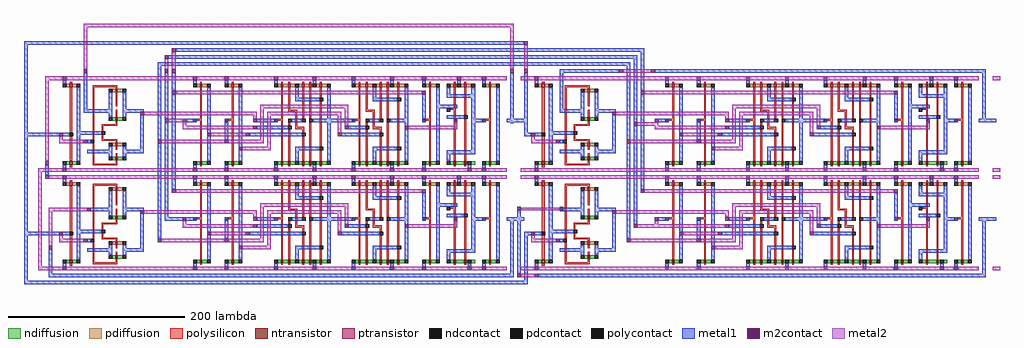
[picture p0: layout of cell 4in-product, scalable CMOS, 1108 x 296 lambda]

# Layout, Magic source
magic
tech scmos
<< metal1 >>
rect -708 144 -140 148
rect -708 44 -704 144
rect -536 136 -4 140
rect -544 128 -12 132
rect -556 120 -20 124
rect -640 67 -636 112
rect -708 40 -664 44
rect -708 -68 -704 40
rect -556 36 -552 120
rect -684 -4 -680 8
rect -708 -72 -664 -68
rect -708 -124 -704 -72
rect -556 -76 -552 32
rect -548 60 -544 112
rect -548 -52 -544 56
rect -540 92 -536 112
rect -540 -20 -536 88
rect -156 55 -152 112
rect -140 44 -136 112
rect -100 112 -32 116
rect -100 70 -96 112
rect -140 40 -132 44
rect -24 36 -20 120
rect -548 -56 -523 -52
rect -680 -116 -676 -88
rect -156 -116 -152 -52
rect -680 -120 -152 -116
rect -148 -116 -144 -44
rect -140 -72 -128 -68
rect -140 -124 -136 -72
rect -24 -76 -20 32
rect -16 56 -12 128
rect -16 -60 -12 52
rect -8 92 -4 136
rect 8 112 384 116
rect -8 -20 -4 88
rect 380 56 384 112
rect 380 -116 384 -52
rect -124 -120 384 -116
rect -708 -128 -136 -124
<< metal2 >>
rect -640 164 -152 168
rect -640 116 -636 164
rect -548 116 -544 128
rect -540 116 -536 136
rect -156 116 -152 164
rect -140 116 -136 144
rect -28 112 4 116
rect -684 104 -668 108
rect -568 104 -544 108
rect -44 104 245 108
rect -684 12 -680 104
rect -536 88 -524 92
rect -4 88 20 92
rect -572 64 -523 68
rect -36 64 12 68
rect -544 56 -524 60
rect -12 52 12 56
rect -552 32 -524 36
rect -20 32 12 36
rect -692 0 -668 4
rect -565 0 -541 4
rect -39 0 250 4
rect -692 -108 -688 0
rect -680 -8 -668 -4
rect -565 -8 -541 -4
rect -40 -8 249 -4
rect -536 -24 -525 -20
rect -4 -24 12 -20
rect -680 -45 -636 -41
rect -144 -44 -100 -41
rect -680 -84 -676 -45
rect -572 -48 -523 -44
rect -36 -48 12 -44
rect -12 -64 12 -60
rect -552 -80 -524 -76
rect -20 -80 12 -76
rect -692 -112 -668 -108
rect -568 -112 -540 -108
rect -37 -112 252 -108
rect -144 -120 -128 -116
<< m2contact >>
rect -140 144 -136 148
rect -540 136 -536 140
rect -548 128 -544 132
rect -640 112 -636 116
rect -576 64 -572 68
rect -556 32 -552 36
rect -684 8 -680 12
rect -684 -8 -680 -4
rect -636 -45 -632 -41
rect -576 -48 -572 -44
rect -548 112 -544 116
rect -548 56 -544 60
rect -540 112 -536 116
rect -540 88 -536 92
rect -156 112 -152 116
rect -140 112 -136 116
rect -32 112 -28 116
rect -40 64 -36 68
rect -540 -24 -536 -20
rect -24 32 -20 36
rect -148 -44 -144 -40
rect -100 -44 -96 -40
rect -556 -80 -552 -76
rect -680 -88 -676 -84
rect -40 -48 -36 -44
rect -148 -120 -144 -116
rect -16 52 -12 56
rect 4 112 8 116
rect -8 88 -4 92
rect -8 -24 -4 -20
rect -16 -64 -12 -60
rect -24 -80 -20 -76
rect -128 -120 -124 -116
use 2inMUX  2inMUX_0
transform 1 0 -104 0 1 0
box -32 0 76 108
use 2inMUX  2inMUX_1
transform 1 0 -640 0 1 0
box -32 0 76 108
use 2inMUX  2inMUX_2
transform 1 0 -104 0 1 -112
box -32 0 76 108
use 2inMUX  2inMUX_3
transform 1 0 -640 0 1 -112
box -32 0 76 108
use dflipflopER  dflipflopER_0
transform 1 0 -164 0 1 0
box 156 0 564 108
use dflipflopER  dflipflopER_1
transform 1 0 -700 0 1 0
box 156 0 564 108
use dflipflopER  dflipflopER_2
transform 1 0 -164 0 1 -112
box 156 0 564 108
use dflipflopER  dflipflopER_3
transform 1 0 -700 0 1 -112
box 156 0 564 108
<< end >>

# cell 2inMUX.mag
magic
tech scmos
<< polysilicon >>
rect 10 96 38 98
rect 10 36 12 96
rect 36 94 38 96
rect 36 74 38 90
rect 36 62 38 70
rect 36 54 38 58
rect 20 52 38 54
rect 20 46 22 52
rect 20 37 22 42
rect 20 35 38 37
rect 36 33 38 35
rect 10 9 12 32
rect 36 25 38 29
rect 36 17 38 21
rect 36 9 38 13
rect 10 7 38 9
<< ndiffusion >>
rect 32 58 36 62
rect 38 58 44 62
rect 32 13 36 17
rect 38 13 44 17
<< pdiffusion >>
rect 32 90 36 94
rect 38 90 44 94
rect 32 29 36 33
rect 38 29 44 33
<< metal1 >>
rect 28 71 32 90
rect 4 67 32 71
rect 28 62 32 67
rect 44 71 48 90
rect 44 67 68 71
rect 44 62 48 67
rect -24 40 -16 44
rect -7 42 20 46
rect 4 32 8 36
rect 28 25 32 29
rect 4 21 32 25
rect 28 17 32 21
rect 44 25 48 29
rect 64 25 68 67
rect 44 21 68 25
rect 44 17 48 21
<< metal2 >>
rect -32 104 -28 108
rect 0 104 76 108
rect -28 36 -24 40
rect -28 32 0 36
rect -32 0 -28 4
rect 0 0 76 4
<< ntransistor >>
rect 36 58 38 62
rect 36 13 38 17
<< ptransistor >>
rect 36 90 38 94
rect 36 29 38 33
<< polycontact >>
rect -16 40 -12 44
rect 8 32 12 36
rect 20 42 24 46
<< ndcontact >>
rect 28 58 32 62
rect 44 58 48 62
rect 28 13 32 17
rect 44 13 48 17
<< pdcontact >>
rect 28 90 32 94
rect 44 90 48 94
rect 28 29 32 33
rect 44 29 48 33
<< m2contact >>
rect -28 40 -24 44
rect 0 32 4 36
use inv  inv_0
transform 1 0 -28 0 1 0
box 0 0 28 108
<< end >>

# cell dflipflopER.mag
magic
tech scmos
<< metal1 >>
rect 176 56 188 60
rect 220 36 224 60
rect 256 56 280 60
rect 336 56 368 60
rect 444 56 448 88
rect 460 72 484 76
rect 256 48 276 52
rect 360 48 364 52
rect 248 40 292 44
rect 352 40 364 44
<< metal2 >>
rect 156 104 180 108
rect 234 104 268 108
rect 348 104 356 108
rect 556 104 564 108
rect 172 88 444 92
rect 260 72 360 76
rect 172 64 256 68
rect 252 60 256 64
rect 172 52 176 56
rect 172 48 252 52
rect 204 40 244 44
rect 260 36 264 72
rect 172 32 220 36
rect 224 32 264 36
rect 268 64 352 68
rect 268 28 272 64
rect 348 44 352 64
rect 356 52 360 72
rect 480 52 484 56
rect 428 48 484 52
rect 240 24 272 28
rect 156 0 180 4
rect 239 0 271 4
rect 348 0 356 4
rect 556 0 564 4
<< m2contact >>
rect 444 88 448 92
rect 172 56 176 60
rect 200 40 204 44
rect 252 56 256 60
rect 480 56 484 60
rect 252 48 256 52
rect 356 48 360 52
rect 424 48 428 52
rect 244 40 248 44
rect 348 40 352 44
rect 220 32 224 36
rect 236 24 240 28
use 2inAND  2inAND_3
transform 1 0 472 0 1 0
box 0 0 84 108
use inverter  inverter_0
transform 1 0 436 0 1 0
box 0 0 36 108
use inverter  inverter_1
transform 1 0 212 0 1 0
box 0 0 36 108
use inverter  inverter_2
transform 1 0 176 0 1 0
box 0 0 36 108
use latch  latch_0
transform 1 0 268 0 1 0
box 0 0 80 108
use latch  latch_1
transform 1 0 356 0 1 0
box 0 0 80 108
<< end >>

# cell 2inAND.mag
magic
tech scmos
<< polysilicon >>
rect 8 100 10 102
rect 20 100 22 102
rect 8 72 10 96
rect 4 70 10 72
rect 8 12 10 70
rect 20 64 22 96
rect 20 12 22 60
rect 8 6 10 8
rect 20 6 22 8
<< ndiffusion >>
rect 4 8 8 12
rect 10 8 20 12
rect 22 8 24 12
rect 28 8 32 12
<< pdiffusion >>
rect 4 96 8 100
rect 10 96 12 100
rect 16 96 20 100
rect 22 96 28 100
<< metal1 >>
rect 12 100 16 104
rect 0 88 4 96
rect 28 88 32 96
rect 0 84 32 88
rect 0 60 20 64
rect 28 60 32 84
rect 28 56 44 60
rect 68 56 88 60
rect 28 24 32 56
rect 0 20 32 24
rect 0 12 4 20
rect 24 4 28 8
<< metal2 >>
rect 0 104 12 108
rect 16 104 32 108
rect 0 0 24 4
rect 28 0 32 4
<< ntransistor >>
rect 8 8 10 12
rect 20 8 22 12
<< ptransistor >>
rect 8 96 10 100
rect 20 96 22 100
<< polycontact >>
rect 0 68 4 72
rect 20 60 24 64
<< ndcontact >>
rect 0 8 4 12
rect 24 8 28 12
<< pdcontact >>
rect 0 96 4 100
rect 12 96 16 100
rect 28 96 32 100
<< m2contact >>
rect 12 104 16 108
rect 24 0 28 4
use inverter  inverter_0
transform 1 0 32 0 1 0
box 0 0 52 108
<< end >>

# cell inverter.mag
magic
tech scmos
<< polysilicon >>
rect 16 100 18 102
rect 16 60 18 96
rect 12 58 18 60
rect 16 12 18 58
rect 16 6 18 8
<< ndiffusion >>
rect 12 8 16 12
rect 18 8 24 12
<< pdiffusion >>
rect 12 96 16 100
rect 18 96 24 100
<< metal1 >>
rect 8 100 12 104
rect 24 12 28 96
rect 8 4 12 8
<< metal2 >>
rect 0 104 8 108
rect 12 104 36 108
rect 0 0 8 4
rect 12 0 36 4
<< ntransistor >>
rect 16 8 18 12
<< ptransistor >>
rect 16 96 18 100
<< polycontact >>
rect 8 56 12 60
<< ndcontact >>
rect 8 8 12 12
rect 24 8 28 12
<< pdcontact >>
rect 8 96 12 100
rect 24 96 28 100
<< m2contact >>
rect 8 104 12 108
rect 8 0 12 4
<< end >>

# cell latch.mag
magic
tech scmos
<< polysilicon >>
rect 16 100 18 102
rect 24 100 26 102
rect 40 100 42 102
rect 48 100 50 102
rect 60 100 62 102
rect 16 60 18 96
rect 24 70 26 96
rect 24 68 34 70
rect 12 58 18 60
rect 16 12 18 58
rect 24 52 26 56
rect 32 51 34 68
rect 40 60 42 96
rect 48 60 50 96
rect 60 84 62 96
rect 32 48 42 51
rect 24 12 26 48
rect 40 44 42 48
rect 40 12 42 40
rect 48 12 50 56
rect 60 28 62 80
rect 60 12 62 24
rect 16 6 18 8
rect 24 6 26 8
rect 40 6 42 8
rect 48 6 50 8
rect 60 6 62 8
<< ndiffusion >>
rect 12 8 16 12
rect 18 8 24 12
rect 26 8 32 12
rect 36 8 40 12
rect 42 8 48 12
rect 50 8 52 12
rect 56 8 60 12
rect 62 8 68 12
<< pdiffusion >>
rect 12 96 16 100
rect 18 96 24 100
rect 26 96 32 100
rect 36 96 40 100
rect 42 96 48 100
rect 50 96 52 100
rect 56 96 60 100
rect 62 96 68 100
<< metal1 >>
rect 8 100 12 104
rect 52 100 56 104
rect 32 84 36 96
rect 32 80 60 84
rect 68 60 72 96
rect 28 56 40 60
rect 52 56 72 60
rect 8 48 24 52
rect 8 40 40 44
rect 32 24 60 28
rect 32 12 36 24
rect 68 12 72 56
rect 8 4 12 8
rect 52 4 56 8
<< metal2 >>
rect 0 104 8 108
rect 12 104 52 108
rect 56 104 80 108
rect 0 0 8 4
rect 12 0 52 4
rect 56 0 80 4
<< ntransistor >>
rect 16 8 18 12
rect 24 8 26 12
rect 40 8 42 12
rect 48 8 50 12
rect 60 8 62 12
<< ptransistor >>
rect 16 96 18 100
rect 24 96 26 100
rect 40 96 42 100
rect 48 96 50 100
rect 60 96 62 100
<< polycontact >>
rect 8 56 12 60
rect 24 56 28 60
rect 24 48 28 52
rect 60 80 64 84
rect 40 56 44 60
rect 48 56 52 60
rect 40 40 44 44
rect 60 24 64 28
<< ndcontact >>
rect 8 8 12 12
rect 32 8 36 12
rect 52 8 56 12
rect 68 8 72 12
<< pdcontact >>
rect 8 96 12 100
rect 32 96 36 100
rect 52 96 56 100
rect 68 96 72 100
<< m2contact >>
rect 8 104 12 108
rect 52 104 56 108
rect 8 0 12 4
rect 52 0 56 4
<< end >>

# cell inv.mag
magic
tech scmos
<< polysilicon >>
rect 12 100 15 102
rect 12 12 15 96
rect 12 5 15 8
<< ndiffusion >>
rect 8 8 12 12
rect 15 8 20 12
<< pdiffusion >>
rect 8 96 12 100
rect 15 96 20 100
<< metal1 >>
rect 4 100 8 104
rect 20 12 24 96
rect 4 4 8 8
<< metal2 >>
rect 0 104 4 108
rect 8 104 28 108
rect 0 0 4 4
rect 8 0 28 4
<< ntransistor >>
rect 12 8 15 12
<< ptransistor >>
rect 12 96 15 100
<< ndcontact >>
rect 4 8 8 12
rect 20 8 24 12
<< pdcontact >>
rect 4 96 8 100
rect 20 96 24 100
<< m2contact >>
rect 4 104 8 108
rect 4 0 8 4
<< end >>
